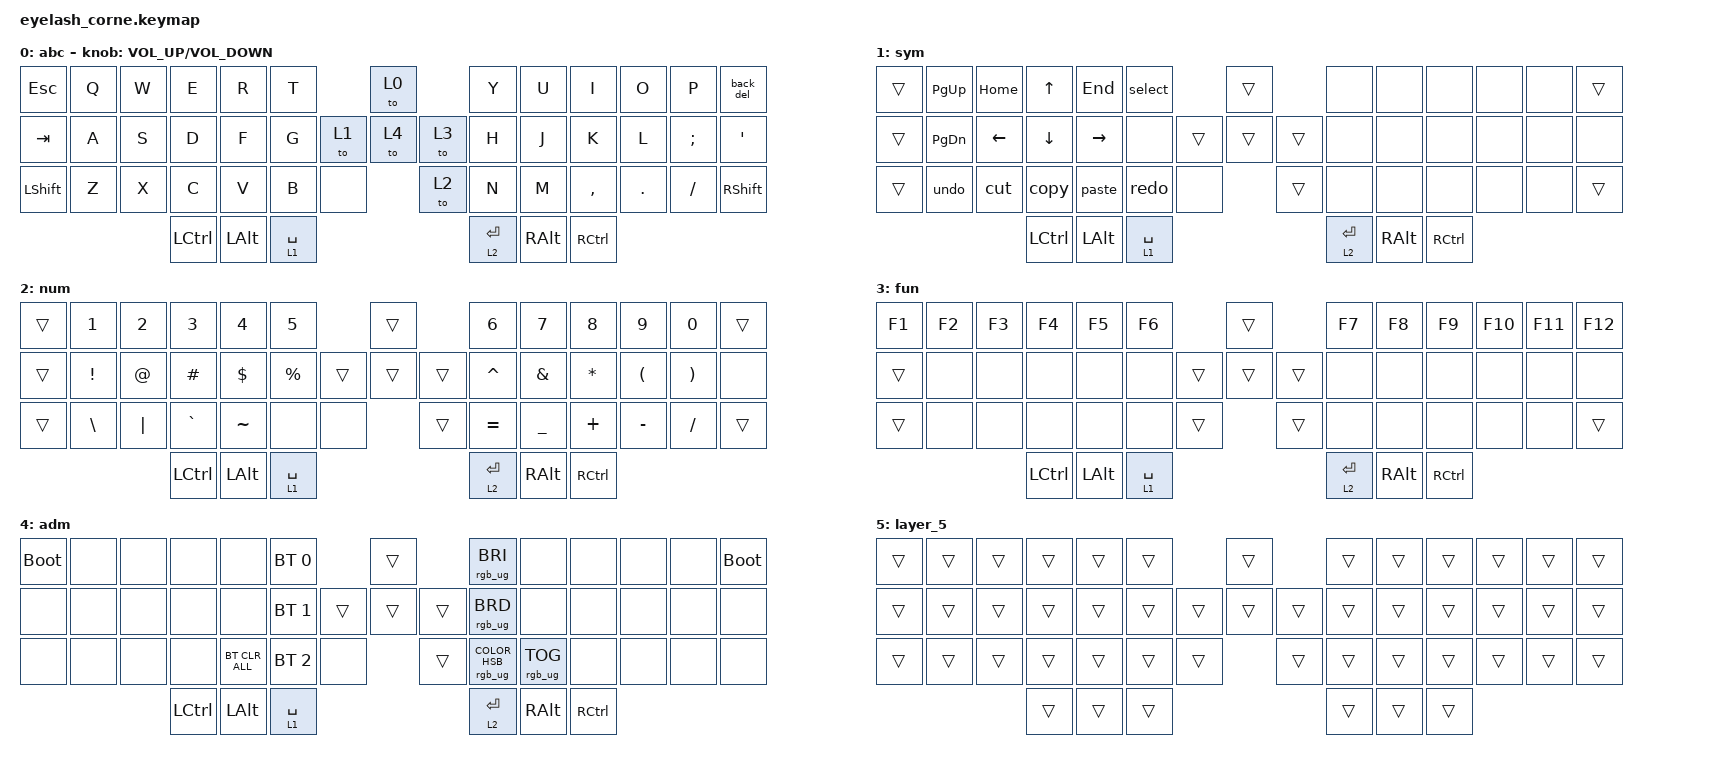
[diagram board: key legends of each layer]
#define ZMK_POINTING_DEFAULT_MOVE_VAL 1200  // 600
#define ZMK_POINTING_DEFAULT_SCRL_VAL 50   // 10

#include <input/processors.dtsi>
#include <zephyr/dt-bindings/input/input-event-codes.h>
#include <behaviors.dtsi>
#include <dt-bindings/zmk/bt.h>
#include <dt-bindings/zmk/keys.h>
#include <dt-bindings/zmk/rgb.h>

&mmv_input_listener { input-processors = <&zip_xy_scaler 2 1>; };

&msc_input_listener { input-processors = <&zip_scroll_scaler 2 1>; };

&msc {
    acceleration-exponent = <1>;      // 0
    time-to-max-speed-ms = <100>;       // 300
    delay-ms = <0>;                   // 0
};

&mmv {
    time-to-max-speed-ms = <500>;
    acceleration-exponent = <1>;
    trigger-period-ms = <16>;
};

&mt {
    flavor = "tap-preferred";
    tapping-term-ms = <300>;
    quick-tap-ms = <250>;
};

&lt {
    quick-tap-ms = <250>;
    tapping-term-ms = <300>;
};

/ {
    combos {
        compatible = "zmk,combos";

        b {
            bindings = <&kp CAPS>;
            key-positions = <28 41>;
        };

        op {
            bindings = <&kp LEFT_PARENTHESIS>;
            key-positions = <16 17>;
            layers = <1>;
        };

        cp {
            bindings = <&kp RIGHT_PARENTHESIS>;
            key-positions = <23 24>;
            layers = <1>;
        };

        oa {
            bindings = <&kp LESS_THAN>;
            key-positions = <15 16>;
            layers = <1>;
        };

        ca {
            bindings = <&kp GREATER_THAN>;
            key-positions = <24 25>;
            layers = <1>;
        };

        os {
            bindings = <&kp LEFT_BRACKET>;
            key-positions = <2 3>;
            layers = <1>;
        };

        cs {
            bindings = <&kp RIGHT_BRACKET>;
            key-positions = <9 10>;
            layers = <1>;
        };

        oc {
            bindings = <&kp LEFT_BRACE>;
            key-positions = <3 4>;
            layers = <1>;
        };

        cc {
            bindings = <&kp RIGHT_BRACE>;
            key-positions = <8 9>;
            layers = <1>;
        };

        admin {
            bindings = <&mo 3>;
            key-positions = <44 45>;
        };
    };

    macros {
        cut: cut {
            compatible = "zmk,behavior-macro";
            #binding-cells = <0>;
            bindings = <&kp LC(X)>;
            label = "CUT";
        };

        copy: copy {
            compatible = "zmk,behavior-macro";
            #binding-cells = <0>;
            bindings = <&kp LC(C)>;
            label = "COPY";
        };

        paste: paste {
            compatible = "zmk,behavior-macro";
            #binding-cells = <0>;
            bindings = <&kp LC(V)>;
            label = "PASTE";
        };

        undo: undo {
            compatible = "zmk,behavior-macro";
            #binding-cells = <0>;
            bindings = <&kp LC(Z)>;
            label = "UNDO";
        };

        redo: redo {
            compatible = "zmk,behavior-macro";
            #binding-cells = <0>;
            bindings = <&kp LC(Y)>;
            label = "REDO";
        };

        select: sel_fwd {
            compatible = "zmk,behavior-macro";
            #binding-cells = <0>;
            bindings = <&kp LC(RIGHT) &kp LS(LC(LEFT))>;
            label = "SEL_FWD";
        };
    };

    behaviors {
        back_del: back_del {
            compatible = "zmk,behavior-mod-morph";
            label = "BACK_DEL";
            bindings = <&kp BACKSPACE>, <&kp DELETE>;

            #binding-cells = <0>;
            mods = <(MOD_LSFT|MOD_RSFT)>;
        };
    };

    keymap {
        compatible = "zmk,keymap";

        default {
            display-name = "abc";
            bindings = <
&kp ESC         &kp Q  &kp W  &kp E             &kp R         &kp T                        &to 0         &kp Y        &kp U          &kp I              &kp O    &kp P          &back_del
&kp TAB         &kp A  &kp S  &kp D             &kp F         &kp G                 &to 1  &to 4  &to 3  &kp H        &kp J          &kp K              &kp L    &kp SEMICOLON  &kp SQT
&kp LEFT_SHIFT  &kp Z  &kp X  &kp C             &kp V         &kp B        &none           &to 2         &kp N        &kp M          &kp COMMA          &kp DOT  &kp FSLH       &kp RIGHT_SHIFT
                              &kp LEFT_CONTROL  &kp LEFT_ALT  &lt 1 SPACE                                &lt 2 ENTER  &kp RIGHT_ALT  &kp RIGHT_CONTROL
            >;

            sensor-bindings = <&inc_dec_kp C_VOLUME_UP C_VOLUME_DOWN>;
        };

        navigation_symbol {
            bindings = <
&trans  &kp PAGE_UP    &kp HOME  &kp UP            &kp END       &select                       &trans          &none        &none          &none              &none  &none  &trans
&trans  &kp PAGE_DOWN  &kp LEFT  &kp DOWN          &kp RIGHT     &none                 &trans  &trans  &trans  &none        &none          &none              &none  &none  &none
&trans  &undo          &cut      &copy             &paste        &redo        &none            &trans          &none        &none          &none              &none  &none  &trans
                                 &kp LEFT_CONTROL  &kp LEFT_ALT  &lt 1 SPACE                                   &lt 2 ENTER  &kp RIGHT_ALT  &kp RIGHT_CONTROL
            >;

            label = "sym";
        };

        number {
            bindings = <
&trans  &kp NUMBER_1     &kp NUMBER_2  &kp NUMBER_3      &kp N4        &kp N5                        &trans          &kp N6       &kp N7          &kp N8             &kp N9                &kp N0                 &trans
&trans  &kp EXCLAMATION  &kp AT_SIGN   &kp POUND         &kp DOLLAR    &kp PERCENT           &trans  &trans  &trans  &kp CARET    &kp AMPERSAND   &kp ASTERISK       &kp LEFT_PARENTHESIS  &kp RIGHT_PARENTHESIS  &none
&trans  &kp BACKSLASH    &kp PIPE      &kp GRAVE         &kp TILDE     &none        &none            &trans          &kp EQUAL    &kp UNDERSCORE  &kp PLUS           &kp MINUS             &kp SLASH              &trans
                                       &kp LEFT_CONTROL  &kp LEFT_ALT  &lt 1 SPACE                                   &lt 2 ENTER  &kp RIGHT_ALT   &kp RIGHT_CONTROL
            >;

            label = "num";
        };

        function {
            bindings = <
&kp F1  &kp F2  &kp F3  &kp F4            &kp F5        &kp F6                         &trans          &kp F7       &kp F8         &kp F9             &kp F10  &kp F11  &kp F12
&trans  &none   &none   &none             &none         &none                  &trans  &trans  &trans  &none        &none          &none              &none    &none    &none
&trans  &none   &none   &none             &none         &none        &trans            &trans          &none        &none          &none              &none    &none    &trans
                        &kp LEFT_CONTROL  &kp LEFT_ALT  &lt 1 SPACE                                    &lt 2 ENTER  &kp RIGHT_ALT  &kp RIGHT_CONTROL
            >;

            label = "fun";
        };

        admin {
            bindings = <
&bootloader  &none  &none  &none             &none           &bt BT_SEL 0                   &trans          &rgb_ug RGB_BRI                 &none            &none              &none  &none  &bootloader
&none        &none  &none  &none             &none           &bt BT_SEL 1           &trans  &trans  &trans  &rgb_ug RGB_BRD                 &none            &none              &none  &none  &none
&none        &none  &none  &none             &bt BT_CLR_ALL  &bt BT_SEL 2  &none            &trans          &rgb_ug RGB_COLOR_HSB(0,0,100)  &rgb_ug RGB_TOG  &none              &none  &none  &none
                           &kp LEFT_CONTROL  &kp LEFT_ALT    &lt 1 SPACE                                    &lt 2 ENTER                     &kp RIGHT_ALT    &kp RIGHT_CONTROL
            >;

            label = "adm";
        };

        layer_5 {
            bindings = <
&trans  &trans  &trans  &trans  &trans  &trans                    &trans          &trans  &trans  &trans  &trans  &trans  &trans
&trans  &trans  &trans  &trans  &trans  &trans            &trans  &trans  &trans  &trans  &trans  &trans  &trans  &trans  &trans
&trans  &trans  &trans  &trans  &trans  &trans  &trans            &trans          &trans  &trans  &trans  &trans  &trans  &trans
                        &trans  &trans  &trans                                    &trans  &trans  &trans
            >;
        };
    };
};
